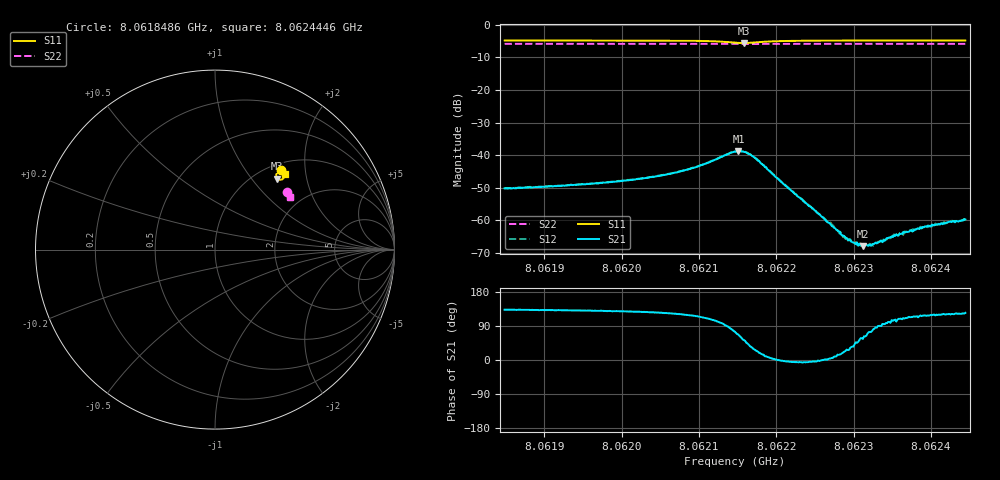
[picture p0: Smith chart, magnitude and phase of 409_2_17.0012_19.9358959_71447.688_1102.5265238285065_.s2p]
#  HZ  S  RI  R  50.00
! Rohde & Schwarz Vector Network Analyzer
! Rohde-Schwarz,ZNB20-2Port,1311601062101988,3.16
! Created: UTC 3/20/2024, 11:10:22 PM
! freq[Hz]  re:S11  im:S11  re:S21  im:S21  re:S12  im:S12  re:S22  im:S22
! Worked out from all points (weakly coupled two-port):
!   401 points, 8.0618486 GHz to 8.0624446 GHz, reference 50 ohm
!   highest |S21| = -38.78 dB at 8.0621511 GHz (marker M1); lowest = -67.9 dB at 8.062312 GHz (marker M2)
!   lowest |S11| = -5.6 dB at 8.0621585 GHz (marker M3), VSWR 3.22, Z = 62 + j67.9 ohm
!   |S11| at or under -10 dB: nowhere
!   |S22| runs from -5.9 to -5.8 dB; largest |S21 - S12| = 0.00093
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8.06184857e9  0.3674 0.4438  -0.0021 0.00228  -0.00198 0.00241  0.3989 0.3207
8.06194841e9  0.3744 0.4376  -0.00232 0.00272  -0.00221 0.00286  0.4027 0.3157
8.06200205e9  0.3785 0.4332  -0.00254 0.0032  -0.00233 0.00335  0.4046 0.3128
8.06204824e9  0.3826 0.4276  -0.00276 0.00394  -0.00256 0.00417  0.4064 0.3104
8.06209593e9  0.387 0.4167  -0.00285 0.00592  -0.00251 0.00616  0.408 0.3075
8.06214659e9  0.3653 0.3891  0.0031 0.0109  0.00383 0.0108  0.4085 0.3043
8.06215106e9  0.3584 0.3897  0.00452 0.0106  0.00539 0.0103  0.4083 0.304
8.06215851e9  0.3475 0.3957  0.00686 0.00886  0.00768 0.00846  0.4081 0.3042
8.06216745e9  0.3408 0.4086  0.00827 0.00572  0.00864 0.00534  0.4084 0.3044
8.0621749e9  0.3414 0.4188  0.00787 0.00342  0.0082 0.00294  0.4087 0.3046
8.06220918e9  0.3604 0.4354  0.00362 -0.000176  0.00366 -0.000411  0.4111 0.3034
8.06224643e9  0.372 0.4346  0.00155 -0.000111  0.0015 -0.000208  0.4127 0.3014
8.06227176e9  0.3766 0.4329  0.000815 7.27e-05  0.000869 2.14e-05  0.4138 0.3
8.06228964e9  0.3792 0.4316  0.0005 0.000223  0.000491 0.000163  0.4144 0.2991
8.06230454e9  0.3809 0.4306  0.000322 0.000326  0.000299 0.000297  0.4151 0.2984
8.06231199e9  0.3818 0.4301  0.000228 0.000332  0.000242 0.000336  0.4153 0.298
8.0623254e9  0.3831 0.4291  6.83e-05 0.00043  0.000136 0.000385  0.4159 0.2974
8.06234626e9  0.3852 0.4279  -9.94e-05 0.000539  -4.83e-05 0.000523  0.4166 0.2961
8.06236862e9  0.3871 0.4265  -0.000239 0.000628  -0.000204 0.000637  0.4174 0.2949
8.06238948e9  0.3885 0.4252  -0.000359 0.00071  -0.00029 0.00072  0.4181 0.2939
8.06242524e9  0.3911 0.4232  -0.00048 0.000828  -0.000475 0.000827  0.4193 0.2921
8.06244461e9  0.3926 0.4221  -0.00058 0.000852  -0.000517 0.000873  0.4201 0.2909
